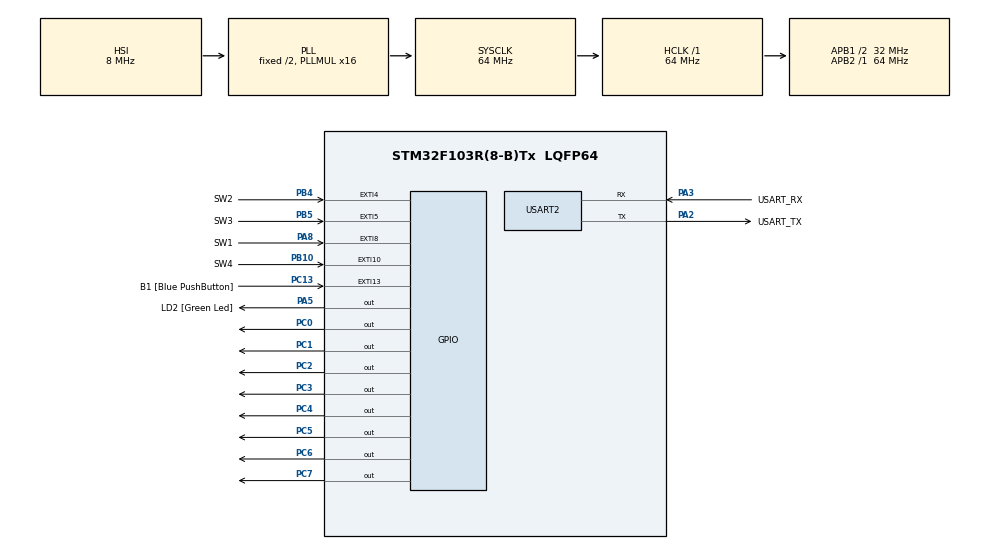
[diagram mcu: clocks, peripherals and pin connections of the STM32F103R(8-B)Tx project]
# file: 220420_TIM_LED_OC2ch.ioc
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Mcu.Family=STM32F1
Mcu.Name=STM32F103R(8-B)Tx
Mcu.Package=LQFP64
NVIC.EXTI15_10_IRQn=true\:0\:0\:false\:false\:true\:true\:true\:true
NVIC.EXTI4_IRQn=true\:0\:0\:false\:false\:true\:true\:true\:true
NVIC.EXTI9_5_IRQn=true\:0\:0\:false\:false\:true\:true\:true\:true
NVIC.PriorityGroup=NVIC_PRIORITYGROUP_4
NVIC.TIM2_IRQn=true\:0\:0\:false\:false\:true\:true\:true\:true
PA13.GPIO_Label=TMS
PA13.Mode=Serial_Wire
PA13.Signal=SYS_JTMS-SWDIO
PA14.GPIO_Label=TCK
PA14.Mode=Serial_Wire
PA14.Signal=SYS_JTCK-SWCLK
PA2.GPIO_Label=USART_TX
PA2.GPIO_Mode=GPIO_MODE_AF_PP
PA2.GPIO_PuPd=GPIO_NOPULL
PA2.GPIO_Speed=GPIO_SPEED_FREQ_LOW
PA2.Mode=Asynchronous
PA2.Signal=USART2_TX
PA3.GPIO_Label=USART_RX
PA3.GPIO_Mode=GPIO_MODE_AF_PP
PA3.GPIO_PuPd=GPIO_NOPULL
PA3.GPIO_Speed=GPIO_SPEED_FREQ_LOW
PA3.Mode=Asynchronous
PA3.Signal=USART2_RX
PA5.GPIO_Label=LD2 [Green Led]
PA5.GPIO_ModeDefaultOutputPP=GPIO_MODE_OUTPUT_PP
PA5.GPIO_PuPd=GPIO_NOPULL
PA5.GPIO_Speed=GPIO_SPEED_FREQ_LOW
PA5.Signal=GPIO_Output
PA8.GPIO_Label=SW1
PA8.GPIO_ModeDefaultEXTI=GPIO_MODE_IT_FALLING
PA8.GPIO_PuPd=GPIO_NOPULL
PA8.Signal=GPXTI8
PB10.GPIO_Label=SW4
PB10.GPIO_ModeDefaultEXTI=GPIO_MODE_IT_FALLING
PB10.GPIO_PuPd=GPIO_NOPULL
PB10.Signal=GPXTI10
PB3.GPIO_Label=SWO
PB3.Signal=SYS_JTDO-TRACESWO
PB4.GPIO_Label=SW2
PB4.GPIO_ModeDefaultEXTI=GPIO_MODE_IT_FALLING
PB4.GPIO_PuPd=GPIO_NOPULL
PB4.Signal=GPXTI4
PB5.GPIO_Label=SW3
PB5.GPIO_ModeDefaultEXTI=GPIO_MODE_IT_FALLING
PB5.GPIO_PuPd=GPIO_NOPULL
PB5.Signal=GPXTI5
PC0.Signal=GPIO_Output
PC1.Signal=GPIO_Output
PC13-TAMPER-RTC.GPIO_Label=B1 [Blue PushButton]
PC13-TAMPER-RTC.GPIO_PuPd=GPIO_NOPULL
PC13-TAMPER-RTC.Signal=GPXTI13
PC14-OSC32_IN.Mode=LSE-External-Oscillator
PC14-OSC32_IN.Signal=RCC_OSC32_IN
PC15-OSC32_OUT.Mode=LSE-External-Oscillator
PC15-OSC32_OUT.Signal=RCC_OSC32_OUT
PC2.Signal=GPIO_Output
PC3.Signal=GPIO_Output
PC4.Signal=GPIO_Output
PC5.Signal=GPIO_Output
PC6.Signal=GPIO_Output
PC7.Signal=GPIO_Output
PD0-OSC_IN.Mode=HSE-External-Clock-Source
PD0-OSC_IN.Signal=RCC_OSC_IN
PD1-OSC_OUT.Mode=HSE-External-Clock-Source
PD1-OSC_OUT.Signal=RCC_OSC_OUT
ProjectManager.HeapSize=0x200
ProjectManager.StackSize=0x400
ProjectManager.TargetToolchain=STM32CubeIDE
RCC.AHBFreq_Value=64000000
RCC.APB1CLKDivider=RCC_HCLK_DIV2
RCC.APB1Freq_Value=32000000
RCC.APB1TimFreq_Value=64000000
RCC.APB2Freq_Value=64000000
RCC.APB2TimFreq_Value=64000000
RCC.HCLKFreq_Value=64000000
RCC.PLLMUL=RCC_PLL_MUL16
RCC.RTCClockSelection=RCC_RTCCLKSOURCE_LSE
RCC.SYSCLKFreq_VALUE=64000000
RCC.SYSCLKSource=RCC_SYSCLKSOURCE_PLLCLK
RCC.USBFreq_Value=64000000
TIM2.Channel-Output\ Compare1\ No\ Output=TIM_CHANNEL_1
TIM2.Channel-Output\ Compare2\ No\ Output=TIM_CHANNEL_2
TIM2.Period=100-1
TIM2.Prescaler=6400-1
TIM2.Pulse-Output\ Compare1\ No\ Output=100-1
TIM2.Pulse-Output\ Compare2\ No\ Output=100-1
USART2.VirtualMode=VM_ASYNC
VP_TIM2_VS_ClockSourceINT.Mode=Internal
VP_TIM2_VS_no_output1.Mode=Output Compare1 No Output
VP_TIM2_VS_no_output2.Mode=Output Compare2 No Output
board=NUCLEO-F103RB

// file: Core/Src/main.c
/* USER CODE BEGIN Header */
/**
 ******************************************************************************
 * @file           : main.c
 * @brief          : Main program body
 ******************************************************************************
 * @attention
 *
 * Copyright (c) 2022 STMicroelectronics.
 * All rights reserved.
 *
 * This software is licensed under terms that can be found in the LICENSE file
 * in the root directory of this software component.
 * If no LICENSE file comes with this software, it is provided AS-IS.
 *
 ******************************************************************************
 */
/* USER CODE END Header */
#include "main.h"

 TIM_HandleTypeDef htim2;

UART_HandleTypeDef huart2;

void SystemClock_Config(void);
static void MX_GPIO_Init(void);
static void MX_USART2_UART_Init(void);
static void MX_TIM2_Init(void);

int main(void)
{

  /* MCU Configuration--------------------------------------------------------*/

  /* Reset of all peripherals, Initializes the Flash interface and the Systick. */
  HAL_Init();

  /* Configure the system clock */
  SystemClock_Config();

  /* Initialize all configured peripherals */
  MX_GPIO_Init();
  MX_USART2_UART_Init();
  MX_TIM2_Init();
  /* USER CODE BEGIN 2 */
	if (HAL_TIM_Base_Start_IT(&htim2) != HAL_OK) {
		Error_Handler();
	}
	if (HAL_TIM_OC_Start_IT(&htim2, TIM_CHANNEL_1) != HAL_OK) {
		Error_Handler();
	}
	if (HAL_TIM_OC_Start_IT(&htim2, TIM_CHANNEL_2) != HAL_OK) {
		Error_Handler();
	}
  /* USER CODE END 2 */

  /* Infinite loop */
	while (1) {

	}
}

void SystemClock_Config(void)
{
  RCC_OscInitTypeDef RCC_OscInitStruct = {0};
  RCC_ClkInitTypeDef RCC_ClkInitStruct = {0};

  /** Initializes the RCC Oscillators according to the specified parameters
  * in the RCC_OscInitTypeDef structure.
  */
  RCC_OscInitStruct.OscillatorType = RCC_OSCILLATORTYPE_HSI;
  RCC_OscInitStruct.HSIState = RCC_HSI_ON;
  RCC_OscInitStruct.HSICalibrationValue = RCC_HSICALIBRATION_DEFAULT;
  RCC_OscInitStruct.PLL.PLLState = RCC_PLL_ON;
  RCC_OscInitStruct.PLL.PLLSource = RCC_PLLSOURCE_HSI_DIV2;
  RCC_OscInitStruct.PLL.PLLMUL = RCC_PLL_MUL16;
  if (HAL_RCC_OscConfig(&RCC_OscInitStruct) != HAL_OK)
  {
    Error_Handler();
  }

  /** Initializes the CPU, AHB and APB buses clocks
  */
  RCC_ClkInitStruct.ClockType = RCC_CLOCKTYPE_HCLK|RCC_CLOCKTYPE_SYSCLK
                              |RCC_CLOCKTYPE_PCLK1|RCC_CLOCKTYPE_PCLK2;
  RCC_ClkInitStruct.SYSCLKSource = RCC_SYSCLKSOURCE_PLLCLK;
  RCC_ClkInitStruct.AHBCLKDivider = RCC_SYSCLK_DIV1;
  RCC_ClkInitStruct.APB1CLKDivider = RCC_HCLK_DIV2;
  RCC_ClkInitStruct.APB2CLKDivider = RCC_HCLK_DIV1;

  if (HAL_RCC_ClockConfig(&RCC_ClkInitStruct, FLASH_LATENCY_2) != HAL_OK)
  {
    Error_Handler();
  }
}

static void MX_TIM2_Init(void)
{

  TIM_ClockConfigTypeDef sClockSourceConfig = {0};
  TIM_MasterConfigTypeDef sMasterConfig = {0};
  TIM_OC_InitTypeDef sConfigOC = {0};

  htim2.Instance = TIM2;
  htim2.Init.Prescaler = 6400-1;
  htim2.Init.CounterMode = TIM_COUNTERMODE_UP;
  htim2.Init.Period = 100-1;
  htim2.Init.ClockDivision = TIM_CLOCKDIVISION_DIV1;
  htim2.Init.AutoReloadPreload = TIM_AUTORELOAD_PRELOAD_DISABLE;
  if (HAL_TIM_Base_Init(&htim2) != HAL_OK)
  {
    Error_Handler();
  }
  sClockSourceConfig.ClockSource = TIM_CLOCKSOURCE_INTERNAL;
  if (HAL_TIM_ConfigClockSource(&htim2, &sClockSourceConfig) != HAL_OK)
  {
    Error_Handler();
  }
  if (HAL_TIM_OC_Init(&htim2) != HAL_OK)
  {
    Error_Handler();
  }
  sMasterConfig.MasterOutputTrigger = TIM_TRGO_RESET;
  sMasterConfig.MasterSlaveMode = TIM_MASTERSLAVEMODE_DISABLE;
  if (HAL_TIMEx_MasterConfigSynchronization(&htim2, &sMasterConfig) != HAL_OK)
  {
    Error_Handler();
  }
  sConfigOC.OCMode = TIM_OCMODE_TIMING;
  sConfigOC.Pulse = 100-1;
  sConfigOC.OCPolarity = TIM_OCPOLARITY_HIGH;
  sConfigOC.OCFastMode = TIM_OCFAST_DISABLE;
  if (HAL_TIM_OC_ConfigChannel(&htim2, &sConfigOC, TIM_CHANNEL_1) != HAL_OK)
  {
    Error_Handler();
  }
  if (HAL_TIM_OC_ConfigChannel(&htim2, &sConfigOC, TIM_CHANNEL_2) != HAL_OK)
  {
    Error_Handler();
  }

}

static void MX_USART2_UART_Init(void)
{

  huart2.Instance = USART2;
  huart2.Init.BaudRate = 115200;
  huart2.Init.WordLength = UART_WORDLENGTH_8B;
  huart2.Init.StopBits = UART_STOPBITS_1;
  huart2.Init.Parity = UART_PARITY_NONE;
  huart2.Init.Mode = UART_MODE_TX_RX;
  huart2.Init.HwFlowCtl = UART_HWCONTROL_NONE;
  huart2.Init.OverSampling = UART_OVERSAMPLING_16;
  if (HAL_UART_Init(&huart2) != HAL_OK)
  {
    Error_Handler();
  }

}

static void MX_GPIO_Init(void)
{
  GPIO_InitTypeDef GPIO_InitStruct = {0};

  /* GPIO Ports Clock Enable */
  __HAL_RCC_GPIOC_CLK_ENABLE();
  __HAL_RCC_GPIOD_CLK_ENABLE();
  __HAL_RCC_GPIOA_CLK_ENABLE();
  __HAL_RCC_GPIOB_CLK_ENABLE();

  /*Configure GPIO pin Output Level */
  HAL_GPIO_WritePin(GPIOC, GPIO_PIN_0|GPIO_PIN_1|GPIO_PIN_2|GPIO_PIN_3
                          |GPIO_PIN_4|GPIO_PIN_5|GPIO_PIN_6|GPIO_PIN_7, GPIO_PIN_RESET);

  /*Configure GPIO pin Output Level */
  HAL_GPIO_WritePin(LD2_GPIO_Port, LD2_Pin, GPIO_PIN_RESET);

  /*Configure GPIO pin : B1_Pin */
  GPIO_InitStruct.Pin = B1_Pin;
  GPIO_InitStruct.Mode = GPIO_MODE_IT_RISING;
  GPIO_InitStruct.Pull = GPIO_NOPULL;
  HAL_GPIO_Init(B1_GPIO_Port, &GPIO_InitStruct);

  /*Configure GPIO pins : PC0 PC1 PC2 PC3
                           PC4 PC5 PC6 PC7 */
  GPIO_InitStruct.Pin = GPIO_PIN_0|GPIO_PIN_1|GPIO_PIN_2|GPIO_PIN_3
                          |GPIO_PIN_4|GPIO_PIN_5|GPIO_PIN_6|GPIO_PIN_7;
  GPIO_InitStruct.Mode = GPIO_MODE_OUTPUT_PP;
  GPIO_InitStruct.Pull = GPIO_NOPULL;
  GPIO_InitStruct.Speed = GPIO_SPEED_FREQ_LOW;
  HAL_GPIO_Init(GPIOC, &GPIO_InitStruct);

  /*Configure GPIO pin : LD2_Pin */
  GPIO_InitStruct.Pin = LD2_Pin;
  GPIO_InitStruct.Mode = GPIO_MODE_OUTPUT_PP;
  GPIO_InitStruct.Pull = GPIO_NOPULL;
  GPIO_InitStruct.Speed = GPIO_SPEED_FREQ_LOW;
  HAL_GPIO_Init(LD2_GPIO_Port, &GPIO_InitStruct);

  /*Configure GPIO pins : SW4_Pin SW2_Pin SW3_Pin */
  GPIO_InitStruct.Pin = SW4_Pin|SW2_Pin|SW3_Pin;
  GPIO_InitStruct.Mode = GPIO_MODE_IT_FALLING;
  GPIO_InitStruct.Pull = GPIO_NOPULL;
  HAL_GPIO_Init(GPIOB, &GPIO_InitStruct);

  /*Configure GPIO pin : SW1_Pin */
  GPIO_InitStruct.Pin = SW1_Pin;
  GPIO_InitStruct.Mode = GPIO_MODE_IT_FALLING;
  GPIO_InitStruct.Pull = GPIO_NOPULL;
  HAL_GPIO_Init(SW1_GPIO_Port, &GPIO_InitStruct);

  /* EXTI interrupt init*/
  HAL_NVIC_SetPriority(EXTI4_IRQn, 0, 0);
  HAL_NVIC_EnableIRQ(EXTI4_IRQn);

  HAL_NVIC_SetPriority(EXTI9_5_IRQn, 0, 0);
  HAL_NVIC_EnableIRQ(EXTI9_5_IRQn);

  HAL_NVIC_SetPriority(EXTI15_10_IRQn, 0, 0);
  HAL_NVIC_EnableIRQ(EXTI15_10_IRQn);

}

/* USER CODE BEGIN 4 */
void HAL_TIM_PeriodElapsedCallback(TIM_HandleTypeDef *htim) {
	HAL_GPIO_WritePin(GPIOC, GPIO_PIN_0 | GPIO_PIN_1 | GPIO_PIN_6 | GPIO_PIN_7,
			GPIO_PIN_SET);
}
void HAL_TIM_OC_DelayElapsedCallback(TIM_HandleTypeDef *htim) { //OC channel 1, 2 IT
	if (htim->Channel == HAL_TIM_ACTIVE_CHANNEL_1) {
		HAL_GPIO_WritePin(GPIOC, GPIO_PIN_0 | GPIO_PIN_1, GPIO_PIN_RESET);
	}
	if (htim->Channel == HAL_TIM_ACTIVE_CHANNEL_2) {
		HAL_GPIO_WritePin(GPIOC, GPIO_PIN_6 | GPIO_PIN_7, GPIO_PIN_RESET);
	}
}
void HAL_GPIO_EXTI_Callback(uint16_t GPIO_Pin) {
	if (GPIO_Pin == SW1_Pin) {
		htim2.Instance->CCR1 = 100 - 1;
		htim2.Instance->CCR2 = 100 - 1;
	}
	if (GPIO_Pin == SW2_Pin) {
		htim2.Instance->CCR1 = 25 - 1;
	}
	if (GPIO_Pin == SW3_Pin) {
		htim2.Instance->CCR2 = 50 - 1;
	}
	if (GPIO_Pin == SW4_Pin) {
		htim2.Instance->CCR2 = 12 - 1;
	}
}
/* USER CODE END 4 */

void Error_Handler(void)
{
	__disable_irq();
	while (1) {
	}
}
